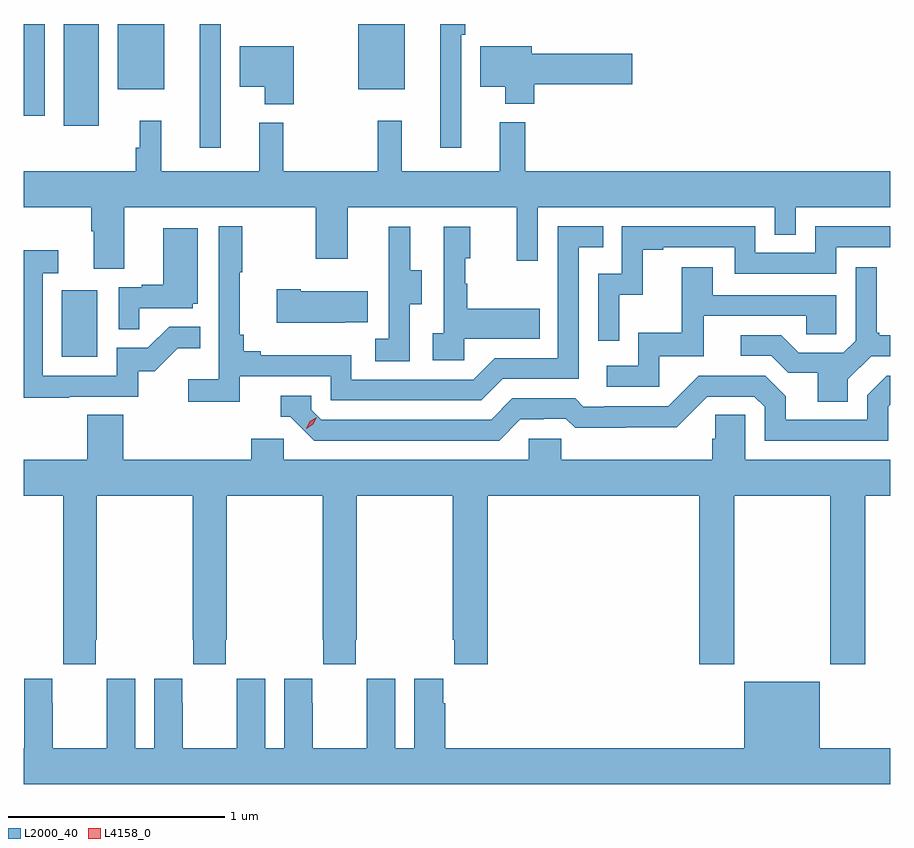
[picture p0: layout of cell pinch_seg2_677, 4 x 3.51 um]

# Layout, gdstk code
import gdstk
lib = gdstk.Library(unit=1e-6, precision=1e-09)
def R(c, l, rs):  # rectangles x0, y0, x1, y1
    for r in rs: c.add(gdstk.rectangle(r[:2], r[2:], *l))
def P(c, l, *ps):  # polygons
    for p in ps: c.add(gdstk.Polygon(p, *l))
L2000_40 = (2000, 40)
L4158_0 = (4158, 0)

pinch_seg2_677 = lib.new_cell('pinch_seg2_677')
R(pinch_seg2_677, L2000_40, [(1083.29,592.332,1083.454,592.639), (1083.926,593.298,1084.023,593.869), (1083.299,593.4,1083.46,593.869), (1083.114,593.446,1083.21,593.869), (1083.548,593.567,1083.763,593.869), (1084.658,593.567,1084.873,593.869)])
P(pinch_seg2_677, L2000_40, [(1085.133,593.819),(1085.153,593.819),(1085.153,593.869),(1085.036,593.869),(1085.036,593.298),(1085.133,593.298)],
  [(1084.36,593.767),(1084.112,593.767),(1084.112,593.579),(1084.226,593.579),(1084.226,593.498),(1084.36,593.498)],
  [(1085.471,593.59),(1085.923,593.59),(1085.923,593.732),(1085.458,593.732),(1085.458,593.767),(1085.222,593.767),(1085.222,593.579),(1085.336,593.579),(1085.336,593.501),(1085.471,593.501)],
  [(1084.462,592.785),(1084.609,592.785),(1084.609,593.024),(1085.39,593.024),(1085.39,592.776),(1085.487,592.776),(1085.487,593.024),(1086.582,593.024),(1086.582,592.897),(1086.678,592.897),(1086.678,593.024),(1087.114,593.024),(1087.114,593.188),(1085.429,593.188),(1085.429,593.416),(1085.312,593.416),(1085.312,593.188),(1084.859,593.188),(1084.859,593.422),(1084.749,593.422),(1084.749,593.188),(1084.312,593.188),(1084.312,593.413),(1084.202,593.413),(1084.202,593.188),(1083.749,593.188),(1083.749,593.422),(1083.65,593.422),(1083.65,593.297),(1083.631,593.297),(1083.631,593.188),(1083.114,593.188),(1083.114,593.024),(1083.425,593.024),(1083.425,592.912),(1083.437,592.912),(1083.437,592.738),(1083.577,592.738),(1083.577,593.024),(1084.462,593.024)],
  [(1084.112,592.242),(1084.53,592.242),(1084.53,592.131),(1085.227,592.131),(1085.326,592.23),(1085.676,592.23),(1085.676,592.839),(1085.789,592.839),(1085.789,592.935),(1085.58,592.935),(1085.58,592.326),(1085.289,592.326),(1085.19,592.227),(1084.626,592.227),(1084.626,592.339),(1084.207,592.339),(1084.207,592.358),(1084.13,592.358),(1084.13,592.435),(1084.111,592.435),(1084.111,592.723),(1084.123,592.723),(1084.123,592.936),(1084.014,592.936),(1084.014,592.228),(1083.873,592.228),(1083.873,592.126),(1084.112,592.126)],
  [(1085.862,592.619),(1085.972,592.619),(1085.972,592.827),(1086.067,592.827),(1086.067,592.839),(1086.396,592.839),(1086.396,592.716),(1086.864,592.716),(1086.864,592.839),(1087.114,592.839),(1087.114,592.935),(1086.768,592.935),(1086.768,592.812),(1086.492,592.812),(1086.492,592.935),(1085.874,592.935),(1085.874,592.716),(1085.766,592.716),(1085.766,592.407),(1085.862,592.407)],
  [(1084.896,592.576),(1084.951,592.576),(1084.951,592.731),(1084.897,592.731),(1084.897,592.933),(1084.799,592.933),(1084.799,592.719),(1084.8,592.719),(1084.8,592.415),(1084.737,592.415),(1084.737,592.312),(1084.896,592.312)],
  [(1085.148,592.415),(1085.495,592.415),(1085.495,592.555),(1085.161,592.555),(1085.161,592.67),(1085.151,592.67),(1085.151,592.788),(1085.176,592.788),(1085.176,592.933),(1085.052,592.933),(1085.052,592.442),(1085.001,592.442),(1085.001,592.317),(1085.148,592.317)],
  [(1083.647,592.557),(1083.894,592.557),(1083.894,592.578),(1083.916,592.578),(1083.916,592.927),(1083.758,592.927),(1083.758,592.666),(1083.659,592.666),(1083.659,592.653),(1083.552,592.653),(1083.552,592.459),(1083.647,592.459)],
  [(1083.323,592.149),(1083.642,592.149),(1083.642,592.266),(1083.718,592.266),(1083.825,592.373),(1083.929,592.373),(1083.929,592.472),(1083.785,592.472),(1083.687,592.374),(1083.543,592.374),(1083.543,592.245),(1083.201,592.245),(1083.201,592.719),(1083.274,592.719),(1083.274,592.825),(1083.114,592.825),(1083.114,592.144),(1083.323,592.144)],
  [(1086.919,592.228),(1087.026,592.335),(1087.114,592.335),(1087.114,592.432),(1087.063,592.432),(1087.063,592.444),(1087.051,592.444),(1087.051,592.747),(1086.954,592.747),(1086.954,592.407),(1086.897,592.35),(1086.691,592.35),(1086.61,592.431),(1086.423,592.431),(1086.423,592.338),(1086.564,592.338),(1086.644,592.258),(1086.779,592.258),(1086.779,592.126),(1086.919,592.126)],
  [(1086.048,592.335),(1086.253,592.335),(1086.253,592.521),(1086.727,592.521),(1086.727,592.437),(1086.864,592.437),(1086.864,592.617),(1086.295,592.617),(1086.295,592.747),(1086.151,592.747),(1086.151,592.444),(1085.952,592.444),(1085.952,592.29),(1085.805,592.29),(1085.805,592.194),(1086.048,592.194)],
  [(1084.595,592.493),(1084.703,592.493),(1084.703,592.636),(1084.393,592.636),(1084.393,592.644),(1084.281,592.644),(1084.281,592.49),(1084.595,592.49)],
  [(1085.407,592.044),(1085.514,592.044),(1085.514,592.047),(1085.617,592.047),(1085.659,592.005),(1085.892,592.005),(1085.892,592.007),(1086.128,592.007),(1086.27,592.149),(1086.486,592.149),(1086.534,592.101),(1086.534,591.945),(1087.104,591.945),(1087.104,592.101),(1087.114,592.111),(1087.114,592.245),(1087.098,592.245),(1087.008,592.155),(1087.008,592.041),(1086.631,592.041),(1086.631,592.151),(1086.537,592.245),(1086.231,592.245),(1086.09,592.104),(1085.797,592.104),(1085.797,592.101),(1085.698,592.101),(1085.659,592.14),(1085.37,592.14),(1085.271,592.041),(1084.488,592.041),(1084.44,592.089),(1084.44,592.152),(1084.301,592.152),(1084.301,592.056),(1084.344,592.056),(1084.455,591.945),(1085.308,591.945)],
  [(1083.407,591.856),(1083.114,591.856),(1083.114,591.692),(1083.295,591.692),(1083.295,591.025),(1083.297,591.025),(1083.297,590.913),(1083.447,590.913),(1083.447,591.025),(1083.45,591.025),(1083.45,591.692),(1083.895,591.692),(1083.895,591.025),(1083.897,591.025),(1083.897,590.913),(1084.047,590.913),(1084.047,591.025),(1084.05,591.025),(1084.05,591.692),(1084.495,591.692),(1084.495,591.025),(1084.497,591.025),(1084.497,590.913),(1084.647,590.913),(1084.647,591.025),(1084.65,591.025),(1084.65,591.692),(1085.095,591.692),(1085.095,591.025),(1085.101,591.025),(1085.101,590.913),(1085.255,590.913),(1085.255,591.692),(1086.233,591.692),(1086.233,590.913),(1086.393,590.913),(1086.393,591.692),(1086.838,591.692),(1086.838,590.913),(1086.998,590.913),(1086.998,591.692),(1087.114,591.692),(1087.114,591.856),(1086.444,591.856),(1086.444,592.064),(1086.307,592.064),(1086.307,591.954),(1086.293,591.954),(1086.293,591.856),(1085.595,591.856),(1085.595,591.954),(1085.445,591.954),(1085.445,591.856),(1084.314,591.856),(1084.314,591.954),(1084.163,591.954),(1084.163,591.856),(1083.572,591.856),(1083.572,592.064),(1083.407,592.064)],
  [(1087.114,590.524),(1086.79,590.524),(1086.79,590.833),(1086.44,590.833),(1086.44,590.524),(1085.06,590.524),(1085.06,590.732),(1085.05,590.732),(1085.05,590.845),(1084.916,590.845),(1084.916,590.524),(1084.828,590.524),(1084.828,590.845),(1084.698,590.845),(1084.698,590.732),(1084.697,590.732),(1084.697,590.524),(1084.447,590.524),(1084.447,590.732),(1084.446,590.732),(1084.446,590.845),(1084.316,590.845),(1084.316,590.524),(1084.228,590.524),(1084.228,590.845),(1084.098,590.845),(1084.098,590.732),(1084.097,590.732),(1084.097,590.524),(1083.847,590.524),(1083.847,590.732),(1083.846,590.732),(1083.846,590.845),(1083.716,590.845),(1083.716,590.524),(1083.628,590.524),(1083.628,590.845),(1083.498,590.845),(1083.498,590.732),(1083.497,590.732),(1083.497,590.524),(1083.247,590.524),(1083.247,590.732),(1083.246,590.732),(1083.246,590.845),(1083.116,590.845),(1083.116,590.524),(1083.114,590.524),(1083.114,590.36),(1087.114,590.36)])
P(pinch_seg2_677, L4158_0, [(1084.419,592.001),(1084.419,592.001),(1084.435,592.034),(1084.466,592.053),(1084.466,592.053),(1084.466,592.053),(1084.45,592.02),(1084.419,592.001)])

lib.write_gds('pinch_seg2_677.gds')
